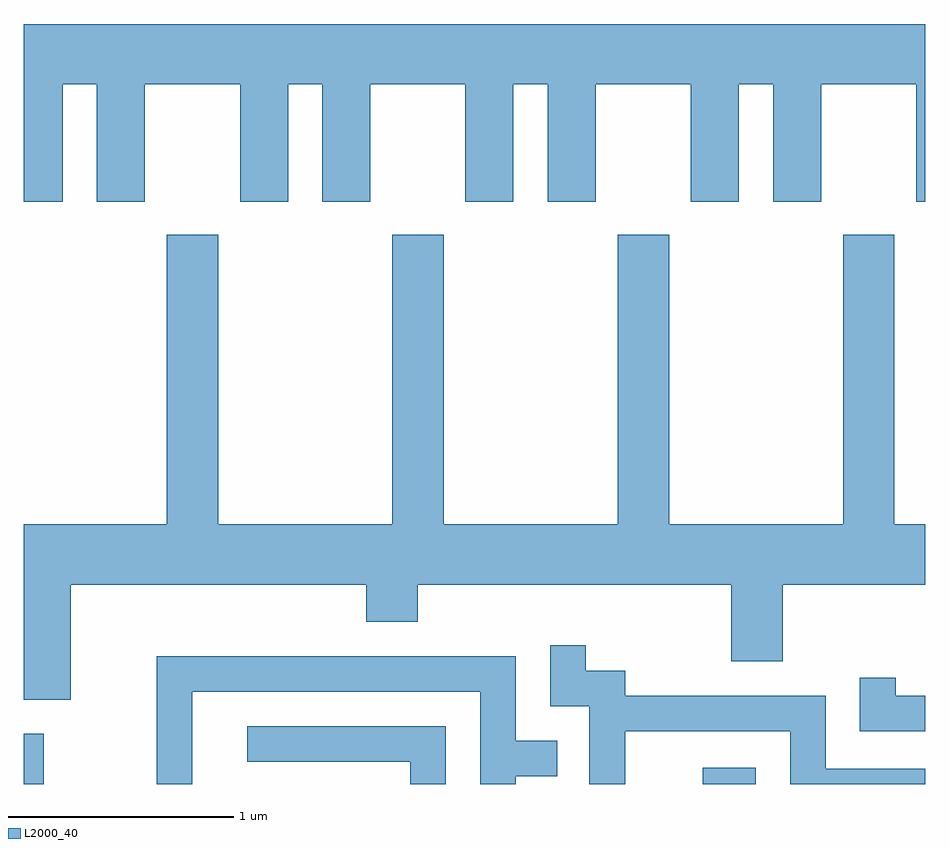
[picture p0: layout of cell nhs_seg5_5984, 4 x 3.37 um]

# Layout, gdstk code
import gdstk
lib = gdstk.Library(unit=1e-6, precision=1e-09)
def R(c, l, rs):  # rectangles x0, y0, x1, y1
    for r in rs: c.add(gdstk.rectangle(r[:2], r[2:], *l))
def P(c, l, *ps):  # polygons
    for p in ps: c.add(gdstk.Polygon(p, *l))
L2000_40 = (2000, 40)

nhs_seg5_5984 = lib.new_cell('nhs_seg5_5984')
R(nhs_seg5_5984, L2000_40, [(361.611,1518.072,361.699,1518.294), (364.623,1518.072,364.859,1518.144)])
P(nhs_seg5_5984, L2000_40, [(361.784,1521.176),(361.936,1521.176),(361.936,1520.656),(362.149,1520.656),(362.149,1521.176),(362.571,1521.176),(362.571,1520.656),(362.784,1520.656),(362.784,1521.176),(362.936,1521.176),(362.936,1520.656),(363.149,1520.656),(363.149,1521.176),(363.571,1521.176),(363.571,1520.656),(363.784,1520.656),(363.784,1521.176),(363.936,1521.176),(363.936,1520.656),(364.149,1520.656),(364.149,1521.176),(364.571,1521.176),(364.571,1520.656),(364.784,1520.656),(364.784,1521.176),(364.936,1521.176),(364.936,1520.656),(365.149,1520.656),(365.149,1521.176),(365.571,1521.176),(365.571,1520.656),(365.611,1520.656),(365.611,1521.444),(361.611,1521.444),(361.611,1520.656),(361.784,1520.656)],
  [(361.819,1518.956),(363.131,1518.956),(363.131,1518.791),(363.359,1518.791),(363.359,1518.956),(364.751,1518.956),(364.751,1518.616),(364.979,1518.616),(364.979,1518.956),(365.611,1518.956),(365.611,1519.224),(365.474,1519.224),(365.474,1520.509),(365.246,1520.509),(365.246,1519.224),(364.474,1519.224),(364.474,1520.509),(364.246,1520.509),(364.246,1519.224),(363.474,1519.224),(363.474,1520.509),(363.246,1520.509),(363.246,1519.224),(362.474,1519.224),(362.474,1520.509),(362.246,1520.509),(362.246,1519.224),(361.611,1519.224),(361.611,1518.446),(361.819,1518.446)],
  [(364.279,1518.306),(365.011,1518.306),(365.011,1518.072),(365.611,1518.072),(365.611,1518.139),(365.169,1518.139),(365.169,1518.464),(364.279,1518.464),(364.279,1518.574),(364.104,1518.574),(364.104,1518.688),(363.946,1518.688),(363.946,1518.416),(364.121,1518.416),(364.121,1518.072),(364.279,1518.072)],
  [(362.359,1518.481),(363.636,1518.481),(363.636,1518.072),(363.794,1518.072),(363.794,1518.106),(363.978,1518.106),(363.978,1518.264),(363.794,1518.264),(363.794,1518.639),(362.201,1518.639),(362.201,1518.072),(362.359,1518.072)],
  [(365.611,1518.464),(365.479,1518.464),(365.479,1518.543),(365.321,1518.543),(365.321,1518.306),(365.611,1518.306)],
  [(363.484,1518.329),(362.603,1518.329),(362.603,1518.171),(363.326,1518.171),(363.326,1518.072),(363.484,1518.072)])

lib.write_gds('nhs_seg5_5984.gds')
